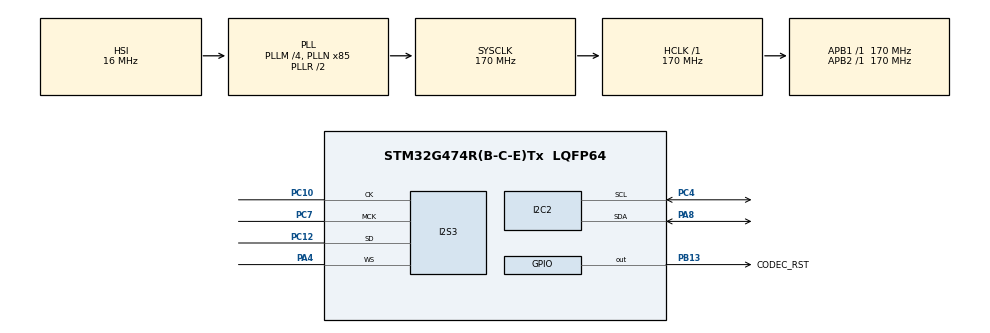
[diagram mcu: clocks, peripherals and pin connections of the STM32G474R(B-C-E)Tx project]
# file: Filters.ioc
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Dma.Request0=SPI3_RX
Dma.SPI3_RX.0.Direction=DMA_PERIPH_TO_MEMORY
Dma.SPI3_RX.0.EventEnable=DISABLE
Dma.SPI3_RX.0.Instance=DMA1_Channel1
Dma.SPI3_RX.0.MemDataAlignment=DMA_MDATAALIGN_HALFWORD
Dma.SPI3_RX.0.MemInc=DMA_MINC_ENABLE
Dma.SPI3_RX.0.Mode=DMA_NORMAL
Dma.SPI3_RX.0.PeriphDataAlignment=DMA_PDATAALIGN_HALFWORD
Dma.SPI3_RX.0.PeriphInc=DMA_PINC_DISABLE
Dma.SPI3_RX.0.Polarity=HAL_DMAMUX_REQ_GEN_RISING
Dma.SPI3_RX.0.Priority=DMA_PRIORITY_HIGH
Dma.SPI3_RX.0.RequestNumber=1
Dma.SPI3_RX.0.SignalID=NONE
Dma.SPI3_RX.0.SyncEnable=DISABLE
Dma.SPI3_RX.0.SyncPolarity=HAL_DMAMUX_SYNC_NO_EVENT
Dma.SPI3_RX.0.SyncRequestNumber=1
Dma.SPI3_RX.0.SyncSignalID=NONE
I2C2.Timing=0x30A0A7FB
I2S3.DataFormat=I2S_DATAFORMAT_16B_EXTENDED
I2S3.ErrorAudioFreq=0.0 %
I2S3.FullDuplexMode=I2S_FULLDUPLEXMODE_DISABLE
I2S3.Instance=SPI$Index
I2S3.Mode=I2S_MODE_MASTER_RX
I2S3.RealAudioFreq=8.0 KHz
I2S3.VirtualMode=I2S_MODE_MASTER
Mcu.Family=STM32G4
Mcu.Name=STM32G474R(B-C-E)Tx
Mcu.Package=LQFP64
NVIC.DMA1_Channel1_IRQn=true\:0\:0\:false\:false\:true\:false\:true\:true
NVIC.I2C2_ER_IRQn=true\:0\:0\:false\:false\:true\:true\:true\:true
NVIC.PriorityGroup=NVIC_PRIORITYGROUP_4
PA13.Mode=Serial_Wire
PA13.Signal=SYS_JTMS-SWDIO
PA14.Mode=Serial_Wire
PA14.Signal=SYS_JTCK-SWCLK
PA4.Mode=Half_Duplex_Master
PA4.Signal=I2S3_WS
PA8.Mode=I2C
PA8.Signal=I2C2_SDA
PB13.GPIO_Label=CODEC_RST
PB13.Signal=GPIO_Output
PC10.Mode=Half_Duplex_Master
PC10.Signal=I2S3_CK
PC12.Mode=Half_Duplex_Master
PC12.Signal=I2S3_SD
PC4.Mode=I2C
PC4.Signal=I2C2_SCL
PC7.Mode=Master_Clock_Activated
PC7.Signal=I2S3_MCK
PF0-OSC_IN.Mode=HSE-External-Oscillator
PF0-OSC_IN.Signal=RCC_OSC_IN
PF1-OSC_OUT.Mode=HSE-External-Oscillator
PF1-OSC_OUT.Signal=RCC_OSC_OUT
ProjectManager.HeapSize=0x200
ProjectManager.StackSize=0x400
ProjectManager.TargetToolchain=STM32CubeIDE
RCC.ADC12Freq_Value=170000000
RCC.ADC345Freq_Value=170000000
RCC.AHBFreq_Value=170000000
RCC.APB1Freq_Value=170000000
RCC.APB1TimFreq_Value=170000000
RCC.APB2Freq_Value=170000000
RCC.APB2TimFreq_Value=170000000
RCC.CortexFreq_Value=170000000
RCC.EXTERNAL_CLOCK_VALUE=12288000
RCC.HCLKFreq_Value=170000000
RCC.HSE_VALUE=24000000
RCC.HSI48_VALUE=48000000
RCC.HSI_VALUE=16000000
RCC.LSE_VALUE=32768
RCC.PLLM=RCC_PLLM_DIV4
RCC.PLLN=85
RCC.RTCClockSelection=RCC_RTCCLKSOURCE_LSE
RCC.SYSCLKFreq_VALUE=170000000
RCC.SYSCLKSource=RCC_SYSCLKSOURCE_PLLCLK
RCC.USBFreq_Value=170000000
RCC.VCOOutputFreq_Value=340000000
STMicroelectronics.X-CUBE-ALGOBUILD.1.3.0.LibraryCcDSPOoLibraryJjDSPOoLibrary=true
VP_STMicroelectronics.X-CUBE-ALGOBUILD_VS_DSPOoLibraryJjLibrary_1.3.0_1.3.0.Mode=DSPOoLibraryJjLibrary
VP_SYS_VS_DBSignals.Mode=DisableDeadBatterySignals
board=NUCLEO-G474RE

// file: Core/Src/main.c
/* USER CODE BEGIN Header */
/**
  ******************************************************************************
  * @file           : main.c
  * @brief          : Main program body
  ******************************************************************************
  * @attention
  *
  * Copyright (c) 2024 STMicroelectronics.
  * All rights reserved.
  *
  * This software is licensed under terms that can be found in the LICENSE file
  * in the root directory of this software component.
  * If no LICENSE file comes with this software, it is provided AS-IS.
  *
  ******************************************************************************
  */
/* USER CODE END Header */
#include "main.h"

/* USER CODE BEGIN Includes */
#include "arm_math.h"
#include "Filter.h"
#include "CS42448.h"
/* USER CODE END Includes */

/* USER CODE BEGIN PD */
#define BUFFER_SIZE 1024
#define BLOCK_SIZE 32
#define NUM_TAPS 60
/* USER CODE END PD */

/* USER CODE BEGIN PM */
Codec_Typedef cs42448;
Filter_Typedef low_pass_50_Hz_filter;

/* USER CODE END PM */

I2C_HandleTypeDef hi2c2;

I2S_HandleTypeDef hi2s3;
DMA_HandleTypeDef hdma_spi3_rx;

/* USER CODE BEGIN PV */
static volatile int16_t codec_raw_data[BUFFER_SIZE];
static volatile float32_t codec_filtered_data[BUFFER_SIZE];

arm_fir_instance_f32 low_pass_50Hz_instance;
float32_t low_pass_50Hz_coeffs[NUM_TAPS] = {
		0.03022662512841,0.00298125066145216,0.00288036344879971,0.00260522146083929,0.00213496571249289,0.00146370392240467,0.000588907304420464,-0.000500777052292414,-0.00180513057204926,-0.00331486840442641,-0.00502190870490101,-0.00691821507251869,-0.00898465907997099,-0.0112027580037421,-0.0135509232456635,-0.0160033748123723,-0.0185169234389414,-0.0210704168603848,-0.0236355750498254,-0.0261709240268061,-0.0286239812873267,-0.0310062091401962,-0.0332413913000725,-0.035267078502274,-0.0371393416280995,-0.0387649630517825,-0.0401386551185191,-0.0412136017595792,-0.0420015520194209,-0.0424661220495087,0.957372120679589,-0.0424661220495087,-0.0420015520194209,-0.0412136017595792,-0.0401386551185191,-0.0387649630517825,-0.0371393416280995,-0.035267078502274,-0.0332413913000725,-0.0310062091401962,-0.0286239812873267,-0.0261709240268061,-0.0236355750498254,-0.0210704168603848,-0.0185169234389414,-0.0160033748123723,-0.0135509232456635,-0.0112027580037421,-0.00898465907997099,-0.00691821507251869,-0.00502190870490101,-0.00331486840442641,-0.00180513057204926,-0.000500777052292414,0.000588907304420464,0.00146370392240467,0.00213496571249289,0.00260522146083929,0.00288036344879971,0.00298125066145216,0.03022662512841
};

/* USER CODE END PV */

void SystemClock_Config(void);
static void MX_GPIO_Init(void);
static void MX_DMA_Init(void);
static void MX_I2C2_Init(void);
static void MX_I2S3_Init(void);

/* USER CODE BEGIN 0 */
void MX_CODEC_Init(void){
	cs42448.CHIP_ADDRESS = 0x90;
	cs42448.i2c_port = hi2c2;
	cs42448.Timeout = 500;
	cs42448.Trials = 3;
	cs42448.Codec_Reset_Pin = CODEC_RST_Pin;
	cs42448.Codec_Reset_Pin_Port = CODEC_RST_GPIO_Port;

}
void MX_Filter_Init(void){
	low_pass_50_Hz_filter.coefficients = low_pass_50Hz_coeffs;
	low_pass_50_Hz_filter.instance = low_pass_50Hz_instance;
	low_pass_50_Hz_filter.buffer_size = BUFFER_SIZE;
	low_pass_50_Hz_filter.raw_input_buffer_ptr = codec_raw_data;
	low_pass_50_Hz_filter.filtered_output_buffer_ptr = &codec_filtered_data[0];
	low_pass_50_Hz_filter.num_taps = NUM_TAPS;
}
/* USER CODE END 0 */

int main(void)
{

  /* MCU Configuration--------------------------------------------------------*/

  /* Reset of all peripherals, Initializes the Flash interface and the Systick. */
  HAL_Init();

  /* Configure the system clock */
  SystemClock_Config();

  /* Initialize all configured peripherals */
  MX_GPIO_Init();
  MX_DMA_Init();
  MX_I2C2_Init();
  MX_I2S3_Init();
  /* USER CODE BEGIN 2 */
  MX_CODEC_Init();
  MX_Filter_Init();

	PowerDownEnable(&cs42448);
	Codec_IsReady(&cs42448);
	SetI2SInterface(&cs42448);
	HandleRegisters(&cs42448,0x04);// Check I2S Interface
	SetADCMode(&cs42448);
	HandleRegisters(&cs42448,0x05);// Check ADC Mode
	PowerDownDisable(&cs42448);
	HAL_I2S_Receive_DMA(&hi2s3, (uint16_t *)codec_raw_data, BUFFER_SIZE);
  /* USER CODE END 2 */

  /* Infinite loop */
  while (1)
  {

  }
}

void SystemClock_Config(void)
{
  RCC_OscInitTypeDef RCC_OscInitStruct = {0};
  RCC_ClkInitTypeDef RCC_ClkInitStruct = {0};

  /** Configure the main internal regulator output voltage
  */
  HAL_PWREx_ControlVoltageScaling(PWR_REGULATOR_VOLTAGE_SCALE1_BOOST);

  /** Initializes the RCC Oscillators according to the specified parameters
  * in the RCC_OscInitTypeDef structure.
  */
  RCC_OscInitStruct.OscillatorType = RCC_OSCILLATORTYPE_HSI;
  RCC_OscInitStruct.HSIState = RCC_HSI_ON;
  RCC_OscInitStruct.HSICalibrationValue = RCC_HSICALIBRATION_DEFAULT;
  RCC_OscInitStruct.PLL.PLLState = RCC_PLL_ON;
  RCC_OscInitStruct.PLL.PLLSource = RCC_PLLSOURCE_HSI;
  RCC_OscInitStruct.PLL.PLLM = RCC_PLLM_DIV4;
  RCC_OscInitStruct.PLL.PLLN = 85;
  RCC_OscInitStruct.PLL.PLLP = RCC_PLLP_DIV2;
  RCC_OscInitStruct.PLL.PLLQ = RCC_PLLQ_DIV2;
  RCC_OscInitStruct.PLL.PLLR = RCC_PLLR_DIV2;
  if (HAL_RCC_OscConfig(&RCC_OscInitStruct) != HAL_OK)
  {
    Error_Handler();
  }

  /** Initializes the CPU, AHB and APB buses clocks
  */
  RCC_ClkInitStruct.ClockType = RCC_CLOCKTYPE_HCLK|RCC_CLOCKTYPE_SYSCLK
                              |RCC_CLOCKTYPE_PCLK1|RCC_CLOCKTYPE_PCLK2;
  RCC_ClkInitStruct.SYSCLKSource = RCC_SYSCLKSOURCE_PLLCLK;
  RCC_ClkInitStruct.AHBCLKDivider = RCC_SYSCLK_DIV1;
  RCC_ClkInitStruct.APB1CLKDivider = RCC_HCLK_DIV1;
  RCC_ClkInitStruct.APB2CLKDivider = RCC_HCLK_DIV1;

  if (HAL_RCC_ClockConfig(&RCC_ClkInitStruct, FLASH_LATENCY_4) != HAL_OK)
  {
    Error_Handler();
  }
}

static void MX_I2C2_Init(void)
{

  hi2c2.Instance = I2C2;
  hi2c2.Init.Timing = 0x30A0A7FB;
  hi2c2.Init.OwnAddress1 = 0;
  hi2c2.Init.AddressingMode = I2C_ADDRESSINGMODE_7BIT;
  hi2c2.Init.DualAddressMode = I2C_DUALADDRESS_DISABLE;
  hi2c2.Init.OwnAddress2 = 0;
  hi2c2.Init.OwnAddress2Masks = I2C_OA2_NOMASK;
  hi2c2.Init.GeneralCallMode = I2C_GENERALCALL_DISABLE;
  hi2c2.Init.NoStretchMode = I2C_NOSTRETCH_DISABLE;
  if (HAL_I2C_Init(&hi2c2) != HAL_OK)
  {
    Error_Handler();
  }

  /** Configure Analogue filter
  */
  if (HAL_I2CEx_ConfigAnalogFilter(&hi2c2, I2C_ANALOGFILTER_ENABLE) != HAL_OK)
  {
    Error_Handler();
  }

  /** Configure Digital filter
  */
  if (HAL_I2CEx_ConfigDigitalFilter(&hi2c2, 0) != HAL_OK)
  {
    Error_Handler();
  }

}

static void MX_I2S3_Init(void)
{

  hi2s3.Instance = SPI3;
  hi2s3.Init.Mode = I2S_MODE_MASTER_RX;
  hi2s3.Init.Standard = I2S_STANDARD_PHILIPS;
  hi2s3.Init.DataFormat = I2S_DATAFORMAT_16B_EXTENDED;
  hi2s3.Init.MCLKOutput = I2S_MCLKOUTPUT_ENABLE;
  hi2s3.Init.AudioFreq = I2S_AUDIOFREQ_8K;
  hi2s3.Init.CPOL = I2S_CPOL_LOW;
  if (HAL_I2S_Init(&hi2s3) != HAL_OK)
  {
    Error_Handler();
  }

}

static void MX_DMA_Init(void)
{

  /* DMA controller clock enable */
  __HAL_RCC_DMAMUX1_CLK_ENABLE();
  __HAL_RCC_DMA1_CLK_ENABLE();

  /* DMA interrupt init */
  /* DMA1_Channel1_IRQn interrupt configuration */
  HAL_NVIC_SetPriority(DMA1_Channel1_IRQn, 0, 0);
  HAL_NVIC_EnableIRQ(DMA1_Channel1_IRQn);

}

static void MX_GPIO_Init(void)
{
  GPIO_InitTypeDef GPIO_InitStruct = {0};

  /* GPIO Ports Clock Enable */
  __HAL_RCC_GPIOF_CLK_ENABLE();
  __HAL_RCC_GPIOA_CLK_ENABLE();
  __HAL_RCC_GPIOC_CLK_ENABLE();
  __HAL_RCC_GPIOB_CLK_ENABLE();

  /*Configure GPIO pin Output Level */
  HAL_GPIO_WritePin(CODEC_RST_GPIO_Port, CODEC_RST_Pin, GPIO_PIN_RESET);

  /*Configure GPIO pin : CODEC_RST_Pin */
  GPIO_InitStruct.Pin = CODEC_RST_Pin;
  GPIO_InitStruct.Mode = GPIO_MODE_OUTPUT_PP;
  GPIO_InitStruct.Pull = GPIO_NOPULL;
  GPIO_InitStruct.Speed = GPIO_SPEED_FREQ_LOW;
  HAL_GPIO_Init(CODEC_RST_GPIO_Port, &GPIO_InitStruct);

}

/* USER CODE BEGIN 4 */
void HAL_I2S_RxCpltCallback(I2S_HandleTypeDef *hi2s){
	Filter_Init(&low_pass_50_Hz_filter);

	HAL_I2S_Receive_DMA(&hi2s3, (uint16_t *)codec_raw_data, BUFFER_SIZE);

}
/* USER CODE END 4 */

void Error_Handler(void)
{
  __disable_irq();
  while (1)
  {
  }
}
